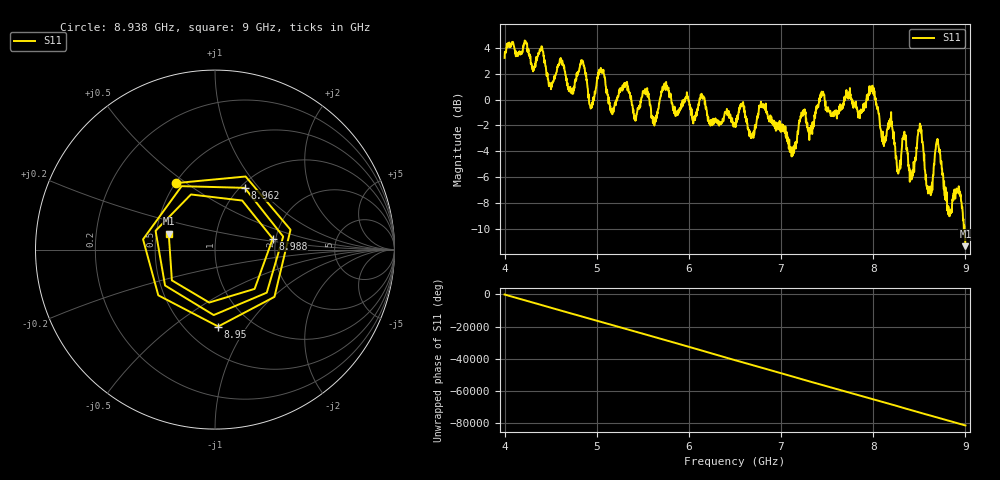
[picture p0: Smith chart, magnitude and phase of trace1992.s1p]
! Created with skrf 1.8.0 (http://scikit-rf.org).
# Hz S RI R 50.0
!freq ReS11 ImS11
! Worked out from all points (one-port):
!   1601 points, 4 GHz to 9 GHz, reference 50 ohm
!   lowest |S11| = -11.3 dB at 9 GHz (marker M1), VSWR 1.75, Z = 29.1 + j5.58 ohm
!   |S11| at or under -10 dB: 8.983499 GHz to 8.985003 GHz (1.505 MHz wide, 0.0167 % of centre); 8.990017 GHz to end of sweep
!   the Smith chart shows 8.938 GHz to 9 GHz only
!   S11 on the Smith chart (normalised r, x): 8.938 GHz: 0.50, +0.46; 8.95 GHz: 0.71, -0.75; 8.962 GHz: 1.05, +0.84; 8.988 GHz: 1.92, +0.26; 9 GHz: 0.58, +0.11
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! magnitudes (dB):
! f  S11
! 4 GHz  3.2
! 4.5 GHz  1.2
! 4.625 GHz  3.0
! 4.722 GHz  0.6
! 4.847 GHz  3.0
! 4.934 GHz  -0.7
! 5.047 GHz  2.4
! 5.159 GHz  -1.0
! 5.25 GHz  0.8
! 5.875 GHz  -1.2
! 6.5 GHz  -2.1
! 6.8 GHz  -0.5
! 7.125 GHz  -4.3
! 7.441 GHz  0.6
! 7.75 GHz  0.3
! 7.994 GHz  0.9
! 8.269 GHz  -5.7
! 8.375 GHz  -4.1
! 8.422 GHz  -5.7
! 8.506 GHz  -1.9
! 8.6 GHz  -7.1
! 8.697 GHz  -3.4
! 8.825 GHz  -8.7
! 8.938 GHz  -7.3
! 8.95 GHz  -7.4
! 8.962 GHz  -8.4
! 8.988 GHz  -9.7
! 9 GHz  -11.3
